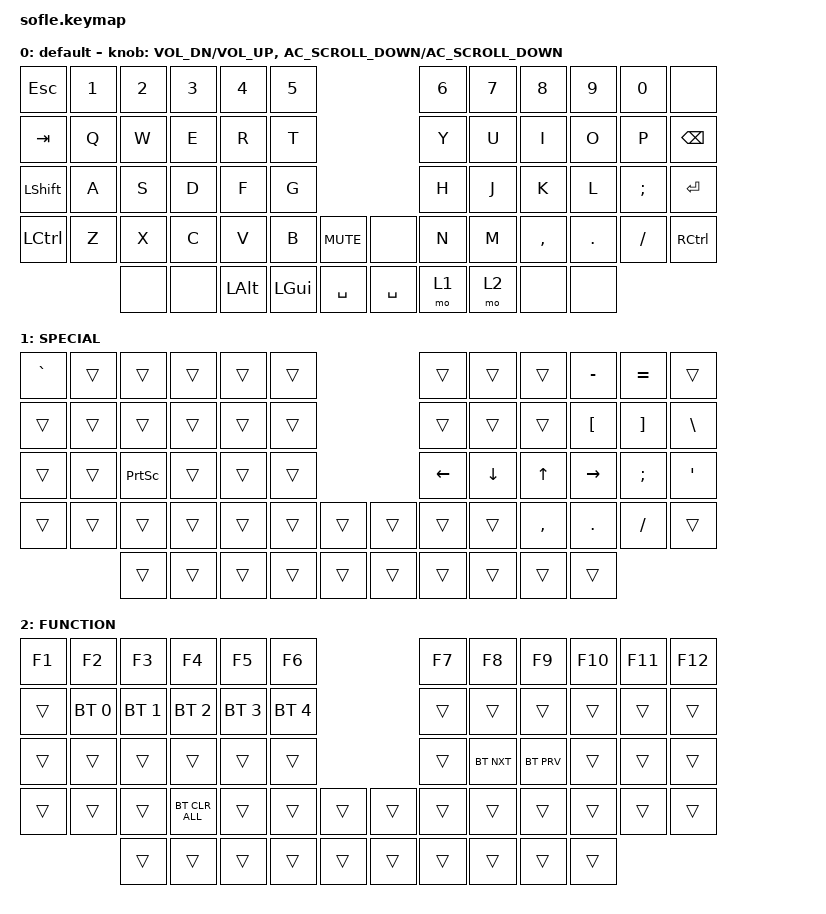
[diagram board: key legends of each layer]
/*
 * Copyright (c) 2020 The ZMK Contributors
 *
 * SPDX-License-Identifier: MIT
 */

#include <behaviors.dtsi>
#include <dt-bindings/zmk/bt.h>
#include <dt-bindings/zmk/keys.h>

#define BASE 0
#define LOWER 1
#define RAISE 2
#define ADJUST 3

/ {
    // Activate ADJUST layer by pressing raise and lower

    conditional_layers {
        compatible = "zmk,conditional-layers";

        adjust_layer {
            if-layers = <1 3>;
            then-layer = <3>;
        };
    };

    keymap {
        compatible = "zmk,keymap";

        default_layer {
            display-name = "default";

            // ------------------------------------------------------------------------------------------------------------
            // |   `   |  1  |  2  |  3   |  4   |  5   |                   |  6   |  7    |  8    |  9   |   0   |       |
            // |  ESC  |  Q  |  W  |  E   |  R   |  T   |                   |  Y   |  U    |  I    |  O   |   P   | BKSPC |
            // |  TAB  |  A  |  S  |  D   |  F   |  G   |                   |  H   |  J    |  K    |  L   |   ;   |   '   |
            // | SHIFT |  Z  |  X  |  C   |  V   |  B   |  MUTE  |  |       |  N   |  M    |  ,    |  .   |   /   | SHIFT |
            //               | GUI | ALT  | CTRL | LOWER|  ENTER |  | SPACE | RAISE| CTRL  | ALT   | GUI  |

            bindings = <
&kp ESC         &kp N1  &kp N2  &kp N3  &kp N4    &kp N5                             &kp N6  &kp N7  &kp N8     &kp N9   &kp N0    &none
&kp TAB         &kp Q   &kp W   &kp E   &kp R     &kp T                              &kp Y   &kp U   &kp I      &kp O    &kp P     &kp BACKSPACE
&kp LEFT_SHIFT  &kp A   &kp S   &kp D   &kp F     &kp G                              &kp H   &kp J   &kp K      &kp L    &kp SEMI  &kp ENTER
&kp LCTRL       &kp Z   &kp X   &kp C   &kp V     &kp B     &kp C_MUTE    &none      &kp N   &kp M   &kp COMMA  &kp DOT  &kp FSLH  &kp RCTRL
                        &none   &none   &kp LALT  &kp LGUI  &kp SPACE     &kp SPACE  &mo 1   &mo 2   &none      &none
            >;

            sensor-bindings =
                <&inc_dec_kp C_VOL_DN C_VOL_UP>,
                <&inc_dec_kp C_AC_SCROLL_DOWN C_AC_SCROLL_DOWN>;

            label = "DEFAULT";
        };

        special_layer {
            bindings = <
&kp GRAVE  &trans  &trans     &trans  &trans  &trans                    &trans    &trans    &trans     &kp MINUS  &kp EQUAL  &trans
&trans     &trans  &trans     &trans  &trans  &trans                    &trans    &trans    &trans     &kp LBKT   &kp RBKT   &kp BSLH
&trans     &trans  &kp PSCRN  &trans  &trans  &trans                    &kp LEFT  &kp DOWN  &kp UP     &kp RIGHT  &kp SEMI   &kp APOS
&trans     &trans  &trans     &trans  &trans  &trans  &trans    &trans  &trans    &trans    &kp COMMA  &kp DOT    &kp FSLH   &trans
                   &trans     &trans  &trans  &trans  &trans    &trans  &trans    &trans    &trans     &trans
            >;

            label = "SPECIAL";
        };

        fn_layer {
            bindings = <
&kp F1  &kp F2        &kp F3        &kp F4          &kp F5        &kp F6                          &kp F7  &kp F8      &kp F9      &kp F10  &kp F11  &kp F12
&trans  &bt BT_SEL 0  &bt BT_SEL 1  &bt BT_SEL 2    &bt BT_SEL 3  &bt BT_SEL 4                    &trans  &trans      &trans      &trans   &trans   &trans
&trans  &trans        &trans        &trans          &trans        &trans                          &trans  &bt BT_NXT  &bt BT_PRV  &trans   &trans   &trans
&trans  &trans        &trans        &bt BT_CLR_ALL  &trans        &trans        &trans    &trans  &trans  &trans      &trans      &trans   &trans   &trans
                      &trans        &trans          &trans        &trans        &trans    &trans  &trans  &trans      &trans      &trans
            >;

            label = "FUNCTION";
        };
    };
};
